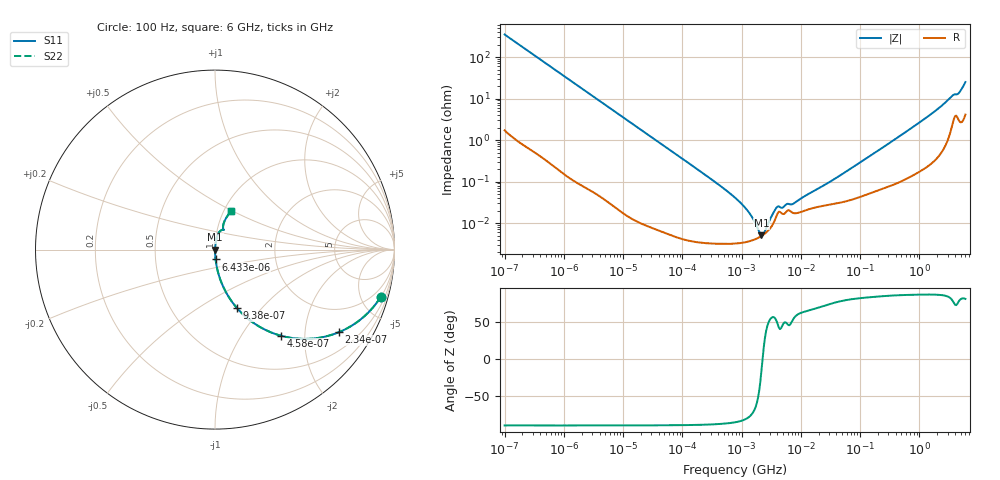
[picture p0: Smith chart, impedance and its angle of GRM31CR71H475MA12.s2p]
!Murata Part Number: GRM31CR71H475MA12
!These Parameters are Measured in Series Mode Connection
!Data Generated on Mar 30, 2021
!  o--ll--o
!Port1  Port2
!  o------o
!Operation Temp=25[degC], DC Bias Voltage=0[V]
!Freq. Start=100[Hz] Stop=6[GHz] 401[Steps]
# Hz S RI R 50
!Freq.(Hz) S11(Real) S11(Imag) S21(Real) S21(Imag) S12(Real) S12(Imag) S22(Real) S22(Imag)
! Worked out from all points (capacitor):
!   401 points, 100 Hz to 6 GHz, reference 50 ohm
!   read as one part in series: C = 4.55 uF near 109 Hz
!   lowest |Z| = 5.07 mohm at 2.169 MHz (marker M1)
!   series resonance near 2.264 MHz, so ESL is about 1.1 nH
!   S11 on the Smith chart (normalised r, x): 100 Hz: 1.03, -6.99; 234 Hz: 1.01, -2.99; 458 Hz: 1.01, -1.53; 938 Hz: 1.00, -0.75; 6.433 kHz: 1.00, -0.11; 6 GHz: 1.08, +0.49
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100  0.9231 -0.2639  0.0769 0.2639  0.0769 0.2639  0.9231 -0.2639
150  0.844 -0.3606  0.156 0.3606  0.156 0.3606  0.844 -0.3606
234  0.6899 -0.4603  0.3101 0.4603  0.3101 0.4603  0.6899 -0.4603
458  0.3698 -0.4804  0.6302 0.4804  0.6302 0.4804  0.3698 -0.4804
938  0.124 -0.3275  0.876 0.3275  0.876 0.3275  0.124 -0.3275
2008  0.0305 -0.1697  0.9695 0.1697  0.9695 0.1697  0.0305 -0.1697
6433  0.00328 -0.0547  0.9967 0.0547  0.9967 0.0547  0.00328 -0.0547
40335  0.000143 -0.00879  0.9999 0.00879  0.9999 0.00879  0.000143 -0.00879
774597  3.21e-05 -0.000408  1 0.000408  1 0.000408  3.21e-05 -0.000408
1159002  3.45e-05 -0.000228  1 0.000228  1 0.000228  3.45e-05 -0.000228
1734173  4.12e-05 -8.6e-05  1 8.6e-05  1 8.6e-05  4.12e-05 -8.6e-05
2169299  4.88e-05 -1.37e-05  1 1.37e-05  1 1.37e-05  4.88e-05 -1.37e-05
2837864  6.66e-05 7.52e-05  0.9999 -7.52e-05  0.9999 -7.52e-05  6.66e-05 7.52e-05
3712478  0.000125 0.000173  0.9999 -0.000173  0.9999 -0.000173  0.000125 0.000173
4060267  0.000171 0.000182  0.9998 -0.000182  0.9998 -0.000182  0.000171 0.000182
7599586  0.000173 0.00024  0.9998 -0.00024  0.9998 -0.00024  0.000173 0.00024
1.555665e7  0.000227 0.000515  0.9998 -0.000515  0.9998 -0.000515  0.000227 0.000515
3.124326e8  0.000833 0.00839  0.9992 -0.00839  0.9992 -0.00839  0.000833 0.00839
1.565993e9  0.00435 0.0413  0.9957 -0.0413  0.9957 -0.0413  0.00435 0.0413
3.505958e9  0.0307 0.1052  0.9693 -0.1052  0.9693 -0.1052  0.0307 0.1052
4.586474e9  0.045 0.1198  0.955 -0.1198  0.955 -0.1198  0.045 0.1198
6e9  0.0901 0.2148  0.9099 -0.2148  0.9099 -0.2148  0.0901 0.2148
